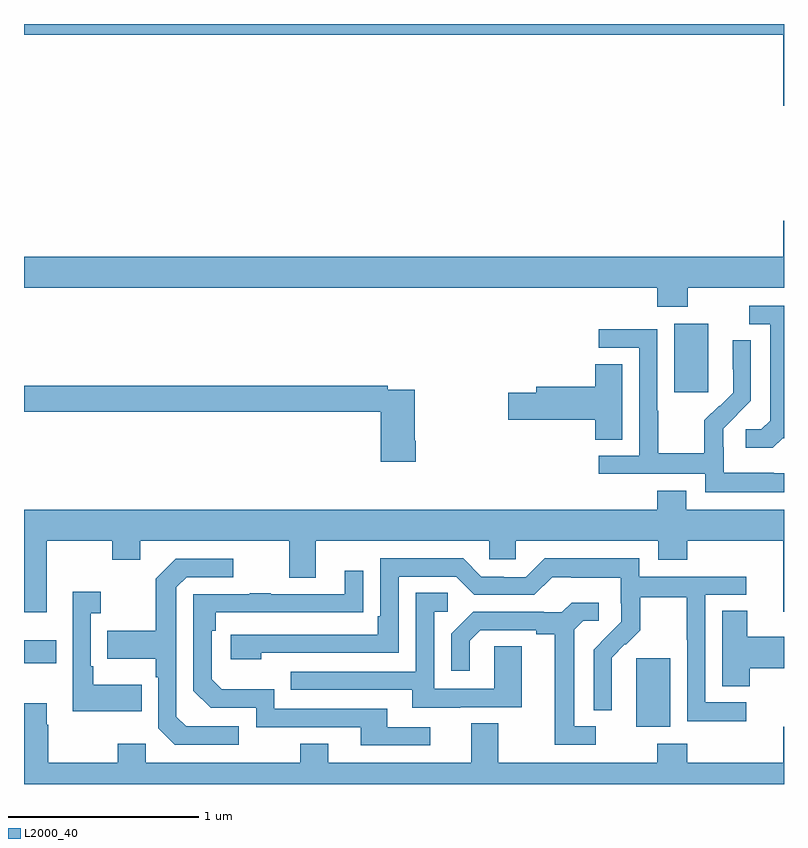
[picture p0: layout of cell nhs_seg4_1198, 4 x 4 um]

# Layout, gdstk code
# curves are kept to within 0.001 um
import gdstk
lib = gdstk.Library(unit=1e-6, precision=1e-09)
def R(c, l, rs):  # rectangles x0, y0, x1, y1
    for r in rs: c.add(gdstk.rectangle(r[:2], r[2:], *l))
def P(c, l, *ps):  # polygons
    for p in ps: c.add(gdstk.Polygon(p, *l))
L2000_40 = (2000, 40)

nhs_seg4_1198 = lib.new_cell('nhs_seg4_1198')
R(nhs_seg4_1198, L2000_40, [(176.222,769.202,176.401,769.563), (173,769.535,173.17,769.657), (176.423,770.961,176.602,771.322)])
P(nhs_seg4_1198, L2000_40, [(177,772.9),(173,772.9),(173,772.844),(176.996,772.844),(176.996,772.47),(177,772.47)],
  [(176.493,771.512),(177,771.512),(177,771.865),(176.996,771.865),(176.996,771.676),(173,771.676),(173,771.512),(176.333,771.512),(176.333,771.413),(176.493,771.413)],
  [(176.994,770.721),(177,770.721),(177,771.417),(176.817,771.417),(176.817,771.321),(176.927,771.321),(176.927,770.813),(176.88,770.766),(176.799,770.766),(176.799,770.669),(176.942,770.669)],
  [(177,770.535),(176.945,770.535),(176.945,770.539),(176.682,770.539),(176.682,770.673),(176.68,770.673),(176.68,770.77),(176.826,770.918),(176.826,771.236),(176.73,771.236),(176.73,771.082),(176.732,771.082),(176.732,770.96),(176.661,770.889),(176.658,770.892),(176.581,770.815),(176.581,770.641),(176.337,770.641),(176.337,770.864),(176.334,770.864),(176.334,771.294),(176.025,771.294),(176.025,771.195),(176.238,771.195),(176.238,770.628),(176.025,770.628),(176.025,770.532),(176.586,770.532),(176.586,770.435),(177,770.435)],
  [(176.149,771.11),(176.006,771.11),(176.006,770.99),(175.697,770.99),(175.697,770.96),(175.548,770.96),(175.548,770.818),(176.006,770.818),(176.006,770.713),(176.149,770.713)],
  [(175.061,770.707),(175.056,770.707),(175.056,770.976),(174.914,770.976),(174.914,770.996),(173,770.996),(173,770.86),(174.878,770.86),(174.878,770.595),(175.061,770.595)],
  [(173.119,770.18),(173.464,770.18),(173.464,770.081),(173.611,770.081),(173.611,770.18),(174.395,770.18),(174.395,769.986),(174.535,769.986),(174.535,770.18),(175.449,770.18),(175.449,770.082),(175.587,770.082),(175.587,770.18),(176.339,770.18),(176.339,770.081),(176.492,770.081),(176.492,770.18),(176.996,770.18),(176.996,769.806),(177,769.806),(177,770.344),(176.485,770.344),(176.485,770.443),(176.333,770.443),(176.333,770.344),(173,770.344),(173,769.803),(173.119,769.803)],
  [(176.8,769.329),(176.586,769.329),(176.586,769.896),(176.8,769.896),(176.8,769.992),(176.238,769.992),(176.238,770.089),(175.741,770.089),(175.641,769.989),(175.526,769.989),(175.526,769.992),(175.407,769.992),(175.311,770.088),(174.876,770.088),(174.876,769.783),(174.863,769.783),(174.863,769.686),(174.087,769.686),(174.087,769.556),(174.248,769.556),(174.248,769.59),(174.972,769.59),(174.972,769.992),(175.275,769.992),(175.371,769.896),(175.686,769.896),(175.779,769.989),(175.879,769.989),(175.879,769.985),(176.142,769.985),(176.142,769.851),(176.144,769.851),(176.144,769.754),(175.998,769.606),(175.998,769.288),(176.094,769.288),(176.093,769.565),(176.163,769.635),(176.166,769.632),(176.243,769.709),(176.243,769.884),(176.488,769.884),(176.488,769.66),(176.49,769.66),(176.49,769.231),(176.8,769.231)],
  [(174.13,769.203),(173.853,769.203),(173.802,769.254),(173.802,769.935),(173.856,769.989),(174.1,769.989),(174.1,770.085),(173.799,770.085),(173.694,769.979),(173.694,769.707),(173.437,769.707),(173.437,769.559),(173.694,769.559),(173.694,769.463),(173.706,769.463),(173.706,769.194),(173.793,769.107),(174.13,769.107)],
  [(175.138,769.2),(174.913,769.2),(174.913,769.296),(174.318,769.296),(174.318,769.399),(174.041,769.399),(173.988,769.452),(173.988,769.706),(174.008,769.706),(174.008,769.803),(174.785,769.804),(174.785,770.023),(174.689,770.023),(174.689,769.899),(174.299,769.899),(174.299,769.904),(174.187,769.904),(174.187,769.899),(173.892,769.899),(173.892,769.392),(173.982,769.302),(174.222,769.302),(174.222,769.2),(174.773,769.2),(174.773,769.104),(175.138,769.104)],
  [(173.621,769.423),(173.365,769.423),(173.365,769.519),(173.352,769.519),(173.352,769.799),(173.404,769.799),(173.404,769.912),(173.256,769.912),(173.256,769.283),(173.621,769.283)],
  [(175.297,769.305),(175.621,769.305),(175.621,769.625),(175.476,769.625),(175.476,769.401),(175.158,769.401),(175.158,769.806),(175.231,769.806),(175.231,769.907),(175.062,769.907),(175.062,769.491),(174.403,769.491),(174.403,769.395),(175.043,769.395),(175.043,769.301),(175.297,769.301)],
  [(176.008,769.203),(175.897,769.203),(175.897,769.711),(175.944,769.758),(176.026,769.758),(176.026,769.855),(175.882,769.855),(175.83,769.803),(175.736,769.803),(175.736,769.806),(175.364,769.806),(175.248,769.69),(175.248,769.497),(175.345,769.497),(175.345,769.653),(175.402,769.71),(175.697,769.71),(175.697,769.688),(175.793,769.688),(175.793,769.107),(176.008,769.107)],
  [(176.819,769.51),(177,769.51),(177,769.675),(176.806,769.675),(176.806,769.811),(176.675,769.811),(176.675,769.414),(176.819,769.414)],
  [(173.119,769.211),(173.119,769.324),(173,769.324),(173,768.9),(177,768.9),(177,769.201),(176.996,769.201),(176.996,769.012),(176.492,769.012),(176.492,769.111),(176.332,769.111),(176.332,769.012),(175.495,769.012),(175.495,769.22),(175.355,769.22),(175.355,769.012),(174.601,769.012),(174.601,769.111),(174.454,769.111),(174.454,769.012),(173.64,769.012),(173.64,769.111),(173.494,769.111),(173.494,769.012),(173.127,769.012),(173.127,769.211)])

lib.write_gds('nhs_seg4_1198.gds')
